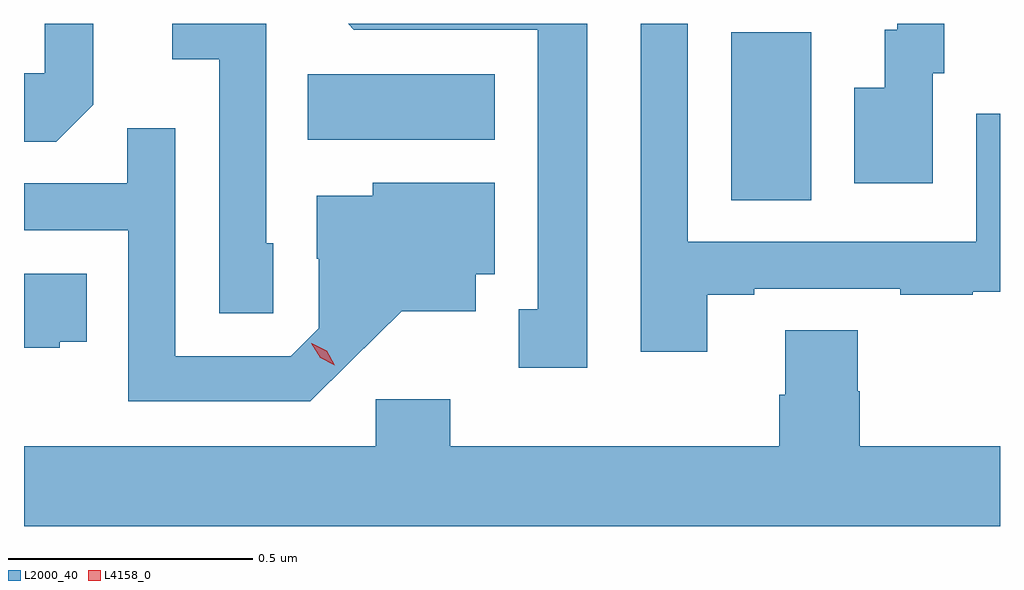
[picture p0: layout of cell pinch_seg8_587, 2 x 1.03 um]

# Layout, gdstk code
import gdstk
lib = gdstk.Library(unit=1e-6, precision=1e-09)
def R(c, l, rs):  # rectangles x0, y0, x1, y1
    for r in rs: c.add(gdstk.rectangle(r[:2], r[2:], *l))
def P(c, l, *ps):  # polygons
    for p in ps: c.add(gdstk.Polygon(p, *l))
L2000_40 = (2000, 40)
L4158_0 = (4158, 0)

pinch_seg8_587 = lib.new_cell('pinch_seg8_587')
R(pinch_seg8_587, L2000_40, [(161.546,1087.864,161.71,1088.208), (160.678,1087.988,161.062,1088.122)])
P(pinch_seg8_587, L2000_40, [(160.239,1088.06),(160.239,1088.226),(160.14,1088.226),(160.14,1088.124),(160.097,1088.124),(160.097,1087.984),(160.163,1087.984)],
  [(161.251,1088.226),(160.761,1088.226),(160.773,1088.214),(161.15,1088.214),(161.15,1087.641),(161.111,1087.641),(161.111,1087.521),(161.251,1087.521)],
  [(160.608,1087.776),(160.593,1087.776),(160.593,1088.226),(160.401,1088.226),(160.401,1088.153),(160.497,1088.153),(160.497,1087.633),(160.608,1087.633)],
  [(161.497,1087.671),(161.593,1087.671),(161.593,1087.683),(161.893,1087.683),(161.893,1087.671),(162.041,1087.671),(162.041,1087.677),(162.097,1087.677),(162.097,1088.041),(162.048,1088.041),(162.048,1087.779),(161.457,1087.779),(161.457,1088.226),(161.361,1088.226),(161.361,1087.554),(161.497,1087.554)],
  [(161.959,1088.124),(161.983,1088.124),(161.983,1088.226),(161.886,1088.226),(161.886,1088.214),(161.861,1088.214),(161.861,1088.095),(161.798,1088.095),(161.798,1087.899),(161.959,1087.899)],
  [(160.768,1087.535),(160.871,1087.637),(161.023,1087.637),(161.023,1087.713),(161.062,1087.713),(161.062,1087.9),(160.812,1087.9),(160.812,1087.873),(160.697,1087.873),(160.697,1087.744),(160.701,1087.744),(160.701,1087.602),(160.644,1087.545),(160.407,1087.545),(160.407,1088.012),(160.309,1088.012),(160.309,1087.899),(160.097,1087.899),(160.097,1087.803),(160.311,1087.803),(160.311,1087.452),(160.684,1087.452)],
  [(160.17,1087.574),(160.226,1087.574),(160.226,1087.714),(160.097,1087.714),(160.097,1087.562),(160.17,1087.562)],
  [(162.097,1087.36),(161.81,1087.36),(161.81,1087.473),(161.805,1087.473),(161.805,1087.598),(161.657,1087.598),(161.657,1087.466),(161.645,1087.466),(161.645,1087.36),(160.97,1087.36),(160.97,1087.456),(160.818,1087.456),(160.818,1087.36),(160.097,1087.36),(160.097,1087.196),(162.097,1087.196)])
P(pinch_seg8_587, L4158_0, [(160.734,1087.526),(160.704,1087.541),(160.686,1087.571),(160.686,1087.571),(160.687,1087.571),(160.717,1087.556),(160.734,1087.526),(160.734,1087.526)])

lib.write_gds('pinch_seg8_587.gds')
